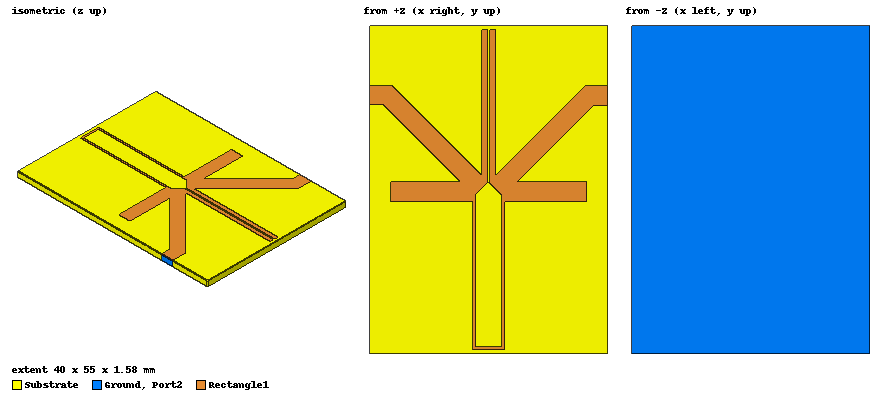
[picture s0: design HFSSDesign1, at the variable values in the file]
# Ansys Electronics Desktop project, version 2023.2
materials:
  vacuum: permittivity=1
  Material1: permittivity=4.3 dielectric_loss_tangent=0.022
  FR4_epoxy: permittivity=4.4 dielectric_loss_tangent=0.02

design HFSSDesign1 (HFSS, HFSS Terminal Network, model units mm)
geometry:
  Ground = rectangle(corner=(-3mm, 0mm, 0mm), x_size=40mm, y_size=55mm)
  Substrate [FR4_epoxy] = box(corner=(-3mm, 0mm, 0mm), size=(40mm, 55mm, 1.58mm))
  Strip5 = rectangle(corner=(19.15mm, 25.525mm, 1.58mm), x_size=14.2mm, y_size=3.3mm)
  Strip6 = rectangle(corner=(14.85mm, 25.525mm, 1.58mm), x_size=-14.2mm, y_size=3.3mm)
  Strip1 = rectangle(corner=(14.85mm, 0.725mm, 1.58mm), x_size=-0.5mm, y_size=24.8mm)
  Strip7 = rectangle(corner=(14.85mm, 0.725mm, 1.58mm), x_size=-0.5mm, y_size=24.8mm)
  Strip2 = rectangle(corner=(19.65mm, 0.725mm, 1.58mm), x_size=-0.5mm, y_size=24.8mm)
  Strip3 = rectangle(corner=(16.85mm, 54.275mm, 1.58mm), x_size=-1mm, y_size=-25.45mm)
  Strip4 = rectangle(corner=(18.15mm, 54.275mm, 1.58mm), x_size=-1mm, y_size=-25.45mm)
  Strip8 = rectangle(corner=(-8.25547167mm, 32.29710223mm, 1.58mm), x_size=3.3mm, y_size=22.9mm)
  Strip8.rotate(axis=Z, angle=-45deg)
  strip9 = rectangle(corner=(32.29710223mm, 8.467603705mm, 1.58mm), x_size=-3.3mm, y_size=22.9mm)
  strip9.rotate(axis=Z, angle=45deg)
  Strip10 = rectangle(corner=(33.192745mm, 44.867745mm, 1.58mm), x_size=3.8072547mm, y_size=-3.3mm)
  Strip10_1 = rectangle(corner=(0.65725471mm, 45.017745mm, 1.58mm), x_size=-3.65725471mm, y_size=-3.3mm)
  Port2 = rectangle(corner=(37mm, 41.567745mm, 1.58mm), y_size=3.3mm, z_size=-1.58mm)
  Port1 = rectangle(corner=(-3mm, 45.017745mm, 1.58mm), y_size=-3.3mm, z_size=-1.58mm)
  Strip1.unite(Strip2..Strip8, strip9, Strip10, Strip10_1)
  Rectangle1 = rectangle(corner=(14.35mm, 0.725mm, 1.58mm), x_size=5.15mm, y_size=0.5mm)
  Rectangle1.unite(Strip1)
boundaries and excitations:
  PerfE1: Perfect E Objects=Ground
  PerfE2: Perfect E Objects=Rectangle1
  1: Lumped Port Objects=Port1 LumpedPortType=Modal Modes{Mode1{IntLine{(-3, 43.367745, 0) -> (-3, 43.367745, 1.58)} CharImp=Zpi RenormImp=50ohm}} Impedance=50ohm
  2: Lumped Port Objects=Port2 LumpedPortType=Modal Modes{Mode1{IntLine{(37, 43.217745, 0) -> (37, 43.217745, 1.58)} CharImp=Zpi RenormImp=50ohm}} Impedance=50ohm
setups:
  Setup1: HfssDrivenAuto AutoSolverSetting=Balanced SaveAnyFields=false Type=Interpolating
    sweep Sweep: 0GHz to 5GHz, 501 points;
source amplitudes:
  1:1: 1V 0deg
  2:1: 0V 0deg
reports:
  S Parameter Plot 1: dB(S(1,1)), dB(S(2,1)) vs Freq on Setup1 : Sweep
